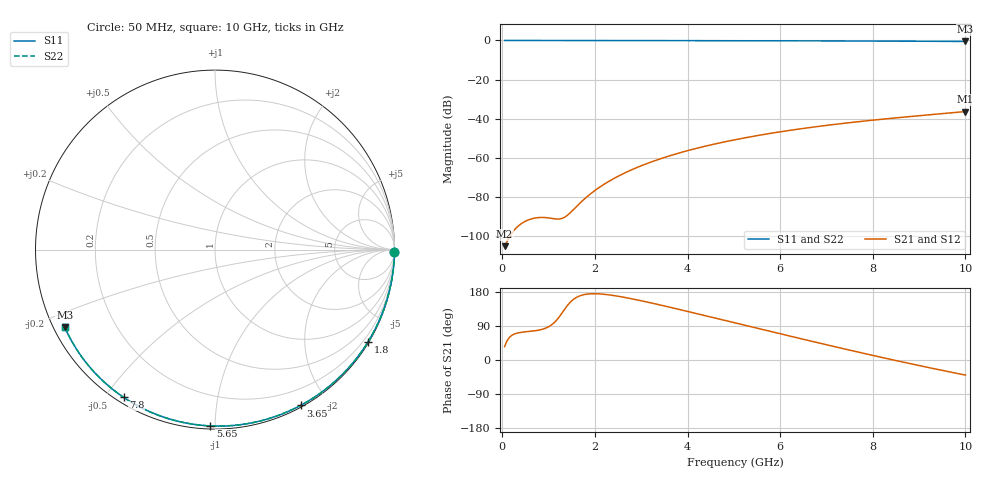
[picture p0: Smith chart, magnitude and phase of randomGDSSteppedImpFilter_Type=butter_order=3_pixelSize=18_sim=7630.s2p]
! freq	dB(S11)	phase(S11)	dB(S12)	phase(S12)
!  dB(S21)	phase(S21)	dB(S22)	phase(S22)
!S-par simulation data
#  GHz  S  DB  R 50
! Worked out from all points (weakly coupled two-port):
!   200 points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, 50 MHz to 10 GHz, reference 50 ohm
!   highest |S21| = -36.39 dB at 10 GHz (marker M1); lowest = -105.3 dB at 50 MHz (marker M2)
!   lowest |S11| = -0.5 dB at 10 GHz (marker M3), VSWR 33.53, Z = 1.58 - j12.1 ohm
!   |S11| at or under -10 dB: nowhere
!   |S22| runs from -0.5 to 0.0 dB; largest |S21 - S12| = 0
!   S11 on the Smith chart (normalised r, x): 50 MHz: open; 1.8 GHz: 0.03, -3.61; 3.65 GHz: 0.02, -1.69; 5.65 GHz: 0.02, -0.97; 7.8 GHz: 0.02, -0.56; 10 GHz: 0.03, -0.24
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0.05  -0.00 -0.9  -105.32 35.4  -105.32 35.4  -0.00 -0.9
0.45  -0.01 -7.9  -93.20 73.7  -93.20 73.7  -0.01 -7.9
0.9  -0.02 -15.6  -90.62 82.4  -90.62 82.4  -0.02 -15.6
1.75  -0.04 -30.1  -81.67 172.0  -81.67 172.0  -0.04 -30.1
1.8  -0.04 -31.0  -80.61 173.3  -80.61 173.3  -0.04 -31.0
1.85  -0.04 -31.8  -79.60 174.1  -79.60 174.1  -0.04 -31.8
2.05  -0.04 -35.2  -75.95 174.7  -75.95 174.7  -0.04 -35.2
2.2  -0.05 -37.7  -73.59 173.4  -73.59 173.4  -0.05 -37.7
2.55  -0.06 -43.5  -68.92 167.2  -68.92 167.2  -0.06 -43.5
2.95  -0.06 -50.0  -64.63 157.6  -64.63 157.6  -0.06 -50.0
3.4  -0.08 -57.2  -60.68 145.4  -60.68 145.4  -0.08 -57.2
3.65  -0.08 -61.2  -58.79 138.4  -58.79 138.4  -0.08 -61.2
4.3  -0.10 -71.3  -54.60 119.4  -54.60 119.4  -0.10 -71.3
5.05  -0.13 -82.6  -50.71 97.2  -50.71 97.2  -0.13 -82.6
5.65  -0.15 -91.5  -48.12 79.5  -48.12 79.5  -0.15 -91.5
6.15  -0.18 -98.7  -46.23 64.9  -46.23 64.9  -0.18 -98.7
6.7  -0.21 -106.5  -44.39 48.9  -44.39 48.9  -0.21 -106.5
7.25  -0.24 -114.2  -42.76 33.1  -42.76 33.1  -0.24 -114.2
7.8  -0.28 -121.8  -41.30 17.6  -41.30 17.6  -0.28 -121.8
8.35  -0.33 -129.4  -39.98 2.6  -39.98 2.6  -0.33 -129.3
9.2  -0.42 -141.2  -38.10 -19.8  -38.10 -19.8  -0.42 -141.2
10  -0.52 -152.7  -36.39 -39.9  -36.39 -39.9  -0.52 -152.7
